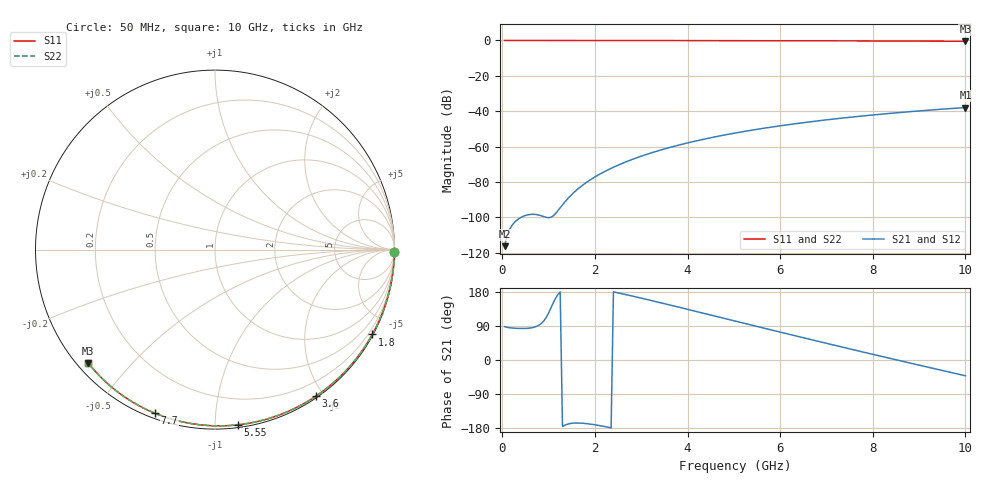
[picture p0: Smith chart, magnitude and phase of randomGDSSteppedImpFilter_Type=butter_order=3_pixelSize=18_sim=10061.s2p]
! freq	dB(S11)	phase(S11)	dB(S12)	phase(S12)
!  dB(S21)	phase(S21)	dB(S22)	phase(S22)
!S-par simulation data
#  GHz  S  DB  R 50
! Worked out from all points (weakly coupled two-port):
!   200 points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, 50 MHz to 10 GHz, reference 50 ohm
!   highest |S21| = -37.95 dB at 10 GHz (marker M1); lowest = -116.4 dB at 50 MHz (marker M2)
!   lowest |S11| = -0.5 dB at 10 GHz (marker M3), VSWR 37.10, Z = 1.54 - j19.1 ohm
!   |S11| at or under -10 dB: nowhere
!   |S22| runs from -0.5 to 0.0 dB; largest |S21 - S12| = 0
!   S11 on the Smith chart (normalised r, x): 50 MHz: open; 1.8 GHz: 0.03, -3.96; 3.6 GHz: 0.02, -1.91; 5.55 GHz: 0.02, -1.14; 7.7 GHz: 0.02, -0.70; 10 GHz: 0.03, -0.38
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0.05  -0.00 -0.8  -116.39 88.0  -116.39 88.0  -0.00 -0.8
0.45  -0.01 -7.2  -99.49 83.2  -99.49 83.2  -0.01 -7.2
0.9  -0.02 -14.3  -99.69 103.7  -99.69 103.7  -0.02 -14.3
1.75  -0.04 -27.6  -81.58 -167.0  -81.58 -167.0  -0.04 -27.6
1.8  -0.04 -28.3  -80.63 -167.6  -80.63 -167.6  -0.04 -28.3
1.85  -0.04 -29.1  -79.72 -168.3  -79.72 -168.3  -0.04 -29.1
2  -0.04 -31.4  -77.22 -171.0  -77.22 -171.0  -0.04 -31.4
2.15  -0.04 -33.7  -74.99 -174.2  -74.99 -174.2  -0.04 -33.7
2.35  -0.05 -36.7  -72.34 -179.0  -72.34 -179.0  -0.05 -36.7
2.55  -0.05 -39.8  -69.98 175.8  -69.98 175.8  -0.05 -39.8
2.95  -0.06 -45.8  -65.93 164.7  -65.93 164.7  -0.06 -45.8
3.4  -0.07 -52.4  -62.14 151.6  -62.14 151.6  -0.07 -52.4
3.6  -0.07 -55.3  -60.65 145.7  -60.65 145.7  -0.07 -55.3
4.3  -0.09 -65.4  -56.17 124.7  -56.17 124.7  -0.09 -65.4
5.05  -0.12 -75.8  -52.27 102.1  -52.27 102.1  -0.12 -75.8
5.55  -0.14 -82.6  -50.07 87.1  -50.07 87.1  -0.14 -82.5
6.1  -0.16 -89.8  -47.92 70.6  -47.92 70.6  -0.16 -89.8
6.7  -0.19 -97.6  -45.86 52.8  -45.86 52.8  -0.19 -97.6
7.7  -0.25 -110.2  -42.93 23.6  -42.93 23.6  -0.25 -110.2
8.35  -0.30 -118.2  -41.31 4.9  -41.31 4.9  -0.30 -118.2
9.2  -0.38 -128.5  -39.46 -19.2  -39.46 -19.2  -0.38 -128.5
10  -0.47 -138.2  -37.95 -41.6  -37.95 -41.6  -0.47 -138.2
